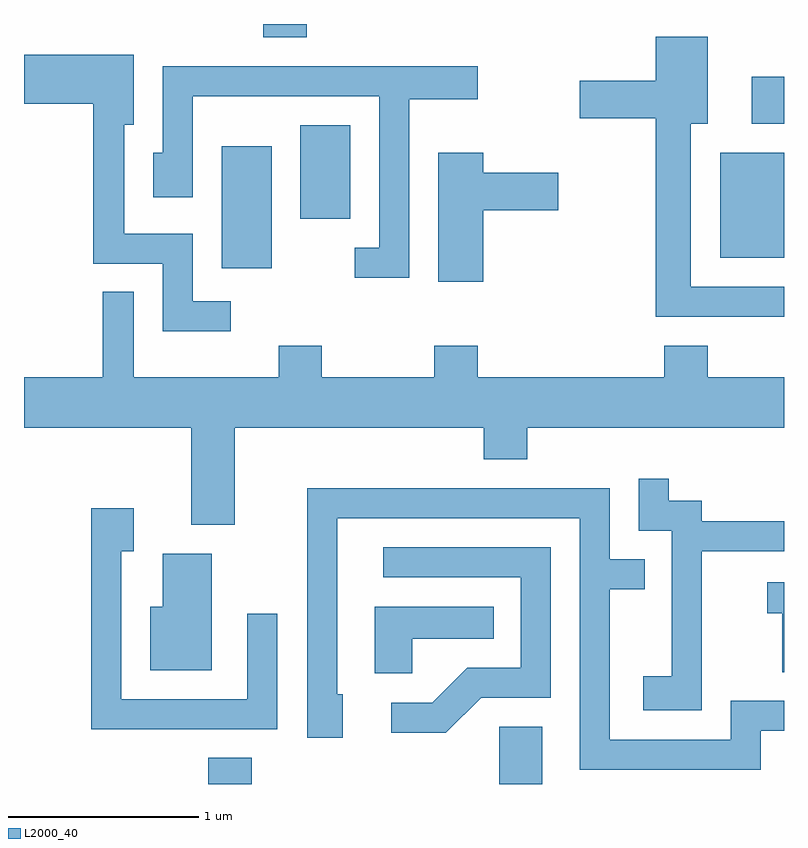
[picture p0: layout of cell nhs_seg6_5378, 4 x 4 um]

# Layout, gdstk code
import gdstk
lib = gdstk.Library(unit=1e-6, precision=1e-09)
def R(c, l, rs):  # rectangles x0, y0, x1, y1
    for r in rs: c.add(gdstk.rectangle(r[:2], r[2:], *l))
def P(c, l, *ps):  # polygons
    for p in ps: c.add(gdstk.Polygon(p, *l))
L2000_40 = (2000, 40)

nhs_seg6_5378 = lib.new_cell('nhs_seg6_5378')
R(nhs_seg6_5378, L2000_40, [(350.581,1548.162,350.809,1548.299), (352.111,1548.162,352.339,1548.464), (350.651,1550.876,350.914,1551.519), (353.276,1550.931,353.611,1551.484), (351.066,1551.136,351.329,1551.629), (353.441,1551.636,353.611,1551.884), (350.871,1552.091,351.099,1552.162)])
P(nhs_seg6_5378, L2000_40, [(353.611,1550.779),(353.119,1550.779),(353.119,1551.636),(353.209,1551.636),(353.209,1552.094),(352.936,1552.094),(352.936,1551.864),(352.536,1551.864),(352.536,1551.666),(352.936,1551.666),(352.936,1550.621),(353.611,1550.621)],
  [(350.698,1550.704),(350.499,1550.704),(350.499,1551.059),(350.139,1551.059),(350.139,1551.631),(350.189,1551.631),(350.189,1551.999),(349.611,1551.999),(349.611,1551.741),(349.976,1551.741),(349.976,1550.901),(350.341,1550.901),(350.341,1550.546),(350.698,1550.546)],
  [(351.639,1551.766),(351.999,1551.766),(351.999,1551.939),(350.341,1551.939),(350.341,1551.484),(350.291,1551.484),(350.291,1551.251),(350.499,1551.251),(350.499,1551.781),(351.481,1551.781),(351.481,1550.984),(351.353,1550.984),(351.353,1550.826),(351.639,1550.826)],
  [(352.029,1551.181),(352.424,1551.181),(352.424,1551.379),(352.029,1551.379),(352.029,1551.484),(351.791,1551.484),(351.791,1550.806),(352.029,1550.806)],
  [(350.719,1550.036),(352.031,1550.036),(352.031,1549.871),(352.259,1549.871),(352.259,1550.036),(353.611,1550.036),(353.611,1550.304),(353.209,1550.304),(353.209,1550.469),(352.981,1550.469),(352.981,1550.304),(351.999,1550.304),(351.999,1550.469),(351.771,1550.469),(351.771,1550.304),(351.179,1550.304),(351.179,1550.469),(350.951,1550.469),(350.951,1550.304),(350.189,1550.304),(350.189,1550.753),(350.026,1550.753),(350.026,1550.304),(349.611,1550.304),(349.611,1550.036),(350.491,1550.036),(350.491,1549.526),(350.719,1549.526)],
  [(353.179,1549.386),(353.611,1549.386),(353.611,1549.544),(353.179,1549.544),(353.179,1549.654),(353.004,1549.654),(353.004,1549.768),(352.846,1549.768),(352.846,1549.496),(353.021,1549.496),(353.021,1548.729),(352.871,1548.729),(352.871,1548.551),(353.179,1548.551)],
  [(353.489,1548.441),(353.611,1548.441),(353.611,1548.599),(353.331,1548.599),(353.331,1548.394),(352.694,1548.394),(352.694,1549.186),(352.878,1549.186),(352.878,1549.344),(352.694,1549.344),(352.694,1549.719),(351.101,1549.719),(351.101,1548.406),(351.289,1548.406),(351.289,1548.634),(351.259,1548.634),(351.259,1549.561),(352.536,1549.561),(352.536,1548.236),(353.489,1548.236)],
  [(350.944,1549.058),(350.786,1549.058),(350.786,1548.609),(350.124,1548.609),(350.124,1549.386),(350.189,1549.386),(350.189,1549.614),(349.966,1549.614),(349.966,1548.451),(350.944,1548.451)],
  [(352.017,1548.616),(352.384,1548.616),(352.384,1549.409),(351.503,1549.409),(351.503,1549.251),(352.226,1549.251),(352.226,1548.774),(351.944,1548.774),(351.759,1548.589),(351.543,1548.589),(351.543,1548.431),(351.832,1548.431)],
  [(350.599,1549.374),(350.341,1549.374),(350.341,1549.094),(350.276,1549.094),(350.276,1548.761),(350.599,1548.761)],
  [(353.611,1549.224),(353.523,1549.224),(353.523,1549.061),(353.601,1549.061),(353.601,1548.751),(353.611,1548.751)],
  [(351.654,1548.926),(352.083,1548.926),(352.083,1549.094),(351.456,1549.094),(351.456,1548.746),(351.654,1548.746)])

lib.write_gds('nhs_seg6_5378.gds')
